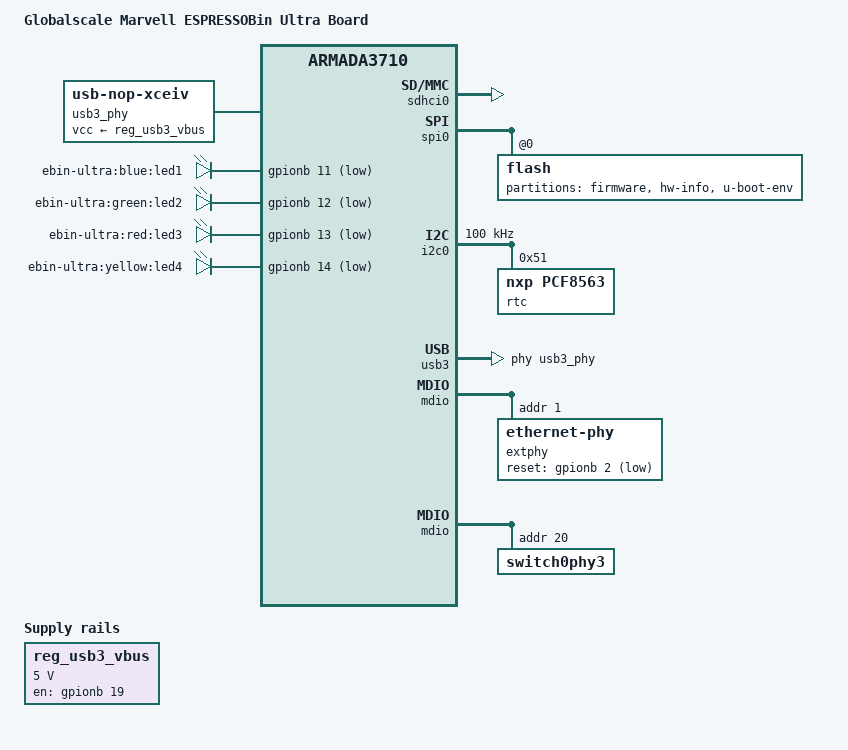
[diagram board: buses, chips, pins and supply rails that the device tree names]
// SPDX-License-Identifier: (GPL-2.0+ OR MIT)
/*
 * Device Tree file for ESPRESSObin-Ultra board.
 * Copyright (C) 2019 Globalscale technologies, Inc.
 *
 * Jason Hung <jhung@globalscaletechnologies.com>
 */

/dts-v1/;

#include "armada-3720-espressobin.dtsi"

/ {
	model = "Globalscale Marvell ESPRESSOBin Ultra Board";
	compatible = "globalscale,espressobin-ultra", "marvell,armada3720",
		     "marvell,armada3710";

	aliases {
		/* ethernet1 is WAN port */
		ethernet1 = &switch0port5;
		ethernet2 = &switch0port1;
		ethernet3 = &switch0port2;
		ethernet4 = &switch0port3;
		ethernet5 = &switch0port4;
	};

	reg_usb3_vbus: usb3-vbus {
		compatible = "regulator-fixed";
		regulator-name = "usb3-vbus";
		regulator-min-microvolt = <5000000>;
		regulator-max-microvolt = <5000000>;
		enable-active-high;
		gpio = <&gpionb 19 GPIO_ACTIVE_HIGH>;
	};

	usb3_phy: usb3-phy {
		compatible = "usb-nop-xceiv";
		vcc-supply = <&reg_usb3_vbus>;
	};

	gpio-leds {
		pinctrl-names = "default";
		compatible = "gpio-leds";
		/* No assigned functions to the LEDs by default */
		led1 {
			label = "ebin-ultra:blue:led1";
			gpios = <&gpionb 11 GPIO_ACTIVE_LOW>;
		};
		led2 {
			label = "ebin-ultra:green:led2";
			gpios = <&gpionb 12 GPIO_ACTIVE_LOW>;
		};
		led3 {
			label = "ebin-ultra:red:led3";
			gpios = <&gpionb 13 GPIO_ACTIVE_LOW>;
		};
		led4 {
			label = "ebin-ultra:yellow:led4";
			gpios = <&gpionb 14 GPIO_ACTIVE_LOW>;
		};
	};
};

&sdhci0 {
	status = "okay";
};

&sdhci1 {
	status = "disabled";
};

&spi0 {
	flash@0 {
		partitions {
			compatible = "fixed-partitions";
			#address-cells = <1>;
			#size-cells = <1>;

			partition@0 {
				label = "firmware";
				reg = <0x0 0x3e0000>;
			};
			partition@3e0000 {
				label = "hw-info";
				reg = <0x3e0000 0x10000>;
				read-only;
			};
			partition@3f0000 {
				label = "u-boot-env";
				reg = <0x3f0000 0x10000>;
			};
		};
	};
};

&i2c0 {
	status = "okay";
	pinctrl-names = "default";
	pinctrl-0 = <&i2c1_pins>;

	clock-frequency = <100000>;

	rtc@51 {
		compatible = "nxp,pcf8563";
		reg = <0x51>;
	};
};

&usb3 {
	usb-phy = <&usb3_phy>;
};

&mdio {
	extphy: ethernet-phy@1 {
		reg = <1>;

		reset-gpios = <&gpionb 2 GPIO_ACTIVE_LOW>;
	};
};

&switch0 {
	reg = <3>;

	reset-gpios = <&gpiosb 23 GPIO_ACTIVE_LOW>;

	ports {
		switch0port1: port@1 {
			reg = <1>;
			label = "lan0";
			phy-handle = <&switch0phy0>;
		};

		switch0port2: port@2 {
			reg = <2>;
			label = "lan1";
			phy-handle = <&switch0phy1>;
		};

		switch0port3: port@3 {
			reg = <3>;
			label = "lan2";
			phy-handle = <&switch0phy2>;
		};

		switch0port4: port@4 {
			reg = <4>;
			label = "lan3";
			phy-handle = <&switch0phy3>;
		};

		switch0port5: port@5 {
			reg = <5>;
			label = "wan";
			phy-handle = <&extphy>;
			phy-mode = "sgmii";
		};
	};

	mdio {
		switch0phy3: switch0phy3@14 {
			reg = <0x14>;
		};
	};
};
